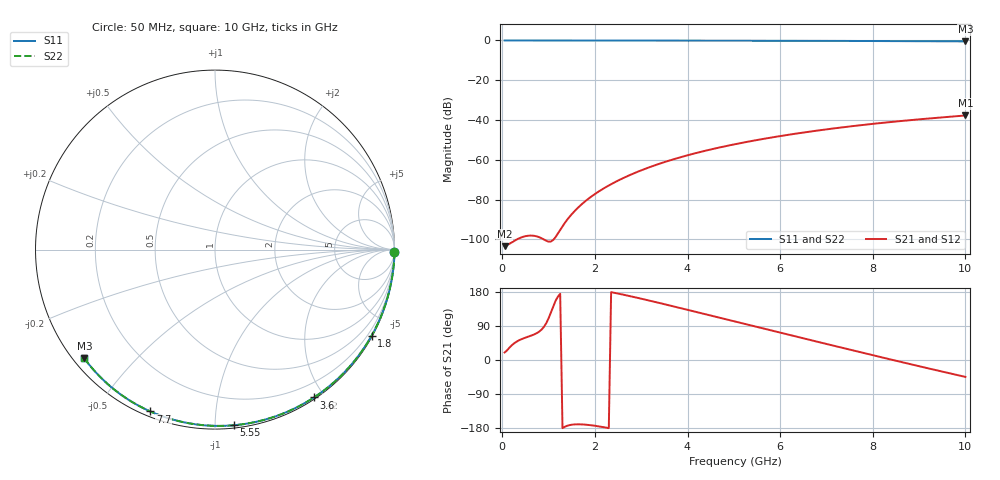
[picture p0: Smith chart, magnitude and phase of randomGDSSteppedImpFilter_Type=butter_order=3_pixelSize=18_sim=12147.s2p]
! freq	dB(S11)	phase(S11)	dB(S12)	phase(S12)
!  dB(S21)	phase(S21)	dB(S22)	phase(S22)
!S-par simulation data
#  GHz  S  DB  R 50
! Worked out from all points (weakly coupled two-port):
!   200 points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, 50 MHz to 10 GHz, reference 50 ohm
!   highest |S21| = -37.71 dB at 10 GHz (marker M1); lowest = -103.4 dB at 50 MHz (marker M2)
!   lowest |S11| = -0.5 dB at 10 GHz (marker M3), VSWR 36.87, Z = 1.53 - j18.1 ohm
!   |S11| at or under -10 dB: nowhere
!   |S22| runs from -0.5 to 0.0 dB; largest |S21 - S12| = 0
!   S11 on the Smith chart (normalised r, x): 50 MHz: open; 1.8 GHz: 0.03, -3.90; 3.6 GHz: 0.02, -1.87; 5.55 GHz: 0.02, -1.11; 7.7 GHz: 0.02, -0.68; 10 GHz: 0.03, -0.36
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0.05  -0.00 -0.8  -103.39 19.8  -103.39 19.8  -0.00 -0.8
0.45  -0.01 -7.3  -98.68 56.7  -98.68 56.7  -0.01 -7.3
0.9  -0.02 -14.5  -100.06 87.6  -100.06 87.6  -0.02 -14.5
1.75  -0.04 -28.0  -81.61 -170.2  -81.61 -170.2  -0.04 -28.0
1.8  -0.04 -28.8  -80.64 -170.6  -80.64 -170.6  -0.04 -28.8
1.85  -0.04 -29.6  -79.72 -171.2  -79.72 -171.2  -0.04 -29.6
2  -0.04 -31.9  -77.19 -173.6  -77.19 -173.6  -0.04 -31.9
2.15  -0.04 -34.2  -74.92 -176.5  -74.92 -176.5  -0.04 -34.2
2.35  -0.05 -37.3  -72.23 179.0  -72.23 179.0  -0.05 -37.3
2.55  -0.05 -40.4  -69.84 174.0  -69.84 174.0  -0.05 -40.4
2.95  -0.06 -46.5  -65.74 163.2  -65.74 163.2  -0.06 -46.5
3.4  -0.07 -53.2  -61.91 150.3  -61.91 150.3  -0.07 -53.2
3.6  -0.08 -56.2  -60.41 144.4  -60.41 144.4  -0.08 -56.2
4.3  -0.09 -66.3  -55.91 123.3  -55.91 123.3  -0.09 -66.3
5.05  -0.12 -76.9  -52.03 100.7  -52.03 100.7  -0.12 -76.9
5.55  -0.14 -83.8  -49.83 85.6  -49.83 85.6  -0.14 -83.8
6.1  -0.16 -91.2  -47.69 69.2  -47.69 69.2  -0.16 -91.2
6.7  -0.19 -99.0  -45.62 51.3  -45.62 51.3  -0.19 -99.0
7.7  -0.25 -111.8  -42.69 21.5  -42.69 21.5  -0.25 -111.8
8.35  -0.31 -119.9  -41.08 2.4  -41.08 2.4  -0.31 -119.9
9.2  -0.38 -130.4  -39.24 -22.1  -39.24 -22.1  -0.38 -130.4
10  -0.47 -140.2  -37.71 -44.6  -37.71 -44.6  -0.47 -140.2
